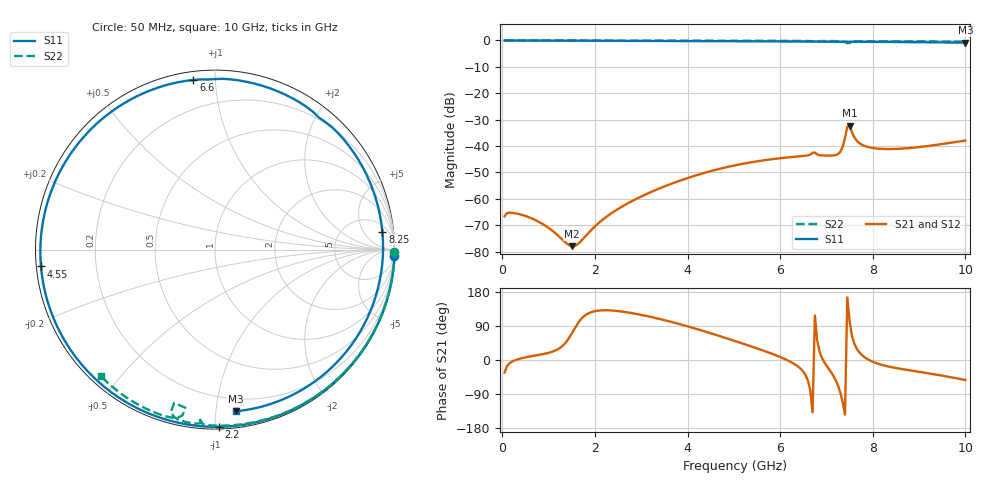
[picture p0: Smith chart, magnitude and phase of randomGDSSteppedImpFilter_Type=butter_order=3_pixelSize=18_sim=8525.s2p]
! freq	dB(S11)	phase(S11)	dB(S12)	phase(S12)
!  dB(S21)	phase(S21)	dB(S22)	phase(S22)
!S-par simulation data
#  GHz  S  DB  R 50
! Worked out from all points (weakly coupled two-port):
!   200 points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, 50 MHz to 10 GHz, reference 50 ohm
!   highest |S21| = -32.27 dB at 7.5 GHz (marker M1); lowest = -78.0 dB at 1.5 GHz (marker M2)
!   lowest |S11| = -0.8 dB at 10 GHz (marker M3), VSWR 20.80, Z = 5.49 - j56.5 ohm
!   |S11| at or under -10 dB: nowhere
!   |S22| runs from -1.1 to 0.0 dB; largest |S21 - S12| = 0
!   S11 on the Smith chart (normalised r, x): 50 MHz: 0, -54; 2.2 GHz: 0.01, -1.02; 4.55 GHz: 0.01, -0.05; 6.6 GHz: 0.04, +0.88; 8.25 GHz: 8, +14; 10 GHz: 0.11, -1.13
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0.05  -0.00 -2.1  -66.62 -33.1  -66.62 -33.1  -0.00 -0.8
0.2  -0.00 -8.5  -65.32 -4.9  -65.32 -4.9  -0.00 -3.1
0.65  -0.03 -27.4  -67.56 10.5  -67.56 10.5  -0.01 -9.9
1.5  -0.08 -61.8  -77.98 70.0  -77.98 70.0  -0.03 -22.7
1.75  -0.09 -71.6  -75.09 113.9  -75.09 113.9  -0.03 -26.4
2.2  -0.11 -88.8  -67.48 131.3  -67.48 131.3  -0.04 -33.0
2.8  -0.13 -111.0  -60.89 123.7  -60.89 123.7  -0.05 -41.8
3.4  -0.16 -132.7  -56.05 108.2  -56.05 108.2  -0.07 -50.3
4.55  -0.23 -174.5  -49.29 68.7  -49.29 68.7  -0.10 -66.2
5.05  -0.26 166.4  -47.24 49.1  -47.24 49.1  -0.11 -72.9
5.8  -0.33 135.2  -45.06 17.5  -45.06 17.5  -0.14 -82.7
6.6  -0.42 97.3  -43.55 -54.3  -43.55 -54.3  -0.21 -93.5
6.7  -0.46 92.2  -42.58 -138.0  -42.58 -138.0  -0.41 -95.1
7.25  -0.47 62.7  -43.05 -67.7  -43.05 -67.7  -0.26 -101.6
7.35  -0.50 57.1  -40.31 -111.0  -40.31 -111.0  -0.36 -103.8
7.45  -0.57 51.7  -32.68 165.0  -32.68 165.0  -1.06 -104.9
7.5  -0.54 49.3  -32.27 101.5  -32.27 101.5  -0.95 -100.7
7.7  -0.50 37.7  -38.79 21.6  -38.79 21.6  -0.30 -104.3
8.25  -0.56 6.2  -41.14 -14.6  -41.14 -14.6  -0.29 -111.7
8.35  -0.57 0.5  -41.17 -17.5  -41.17 -17.5  -0.30 -113.0
9.2  -0.69 -45.1  -39.99 -35.1  -39.99 -35.1  -0.37 -123.0
10  -0.84 -82.7  -37.93 -52.9  -37.93 -52.9  -0.45 -132.2
